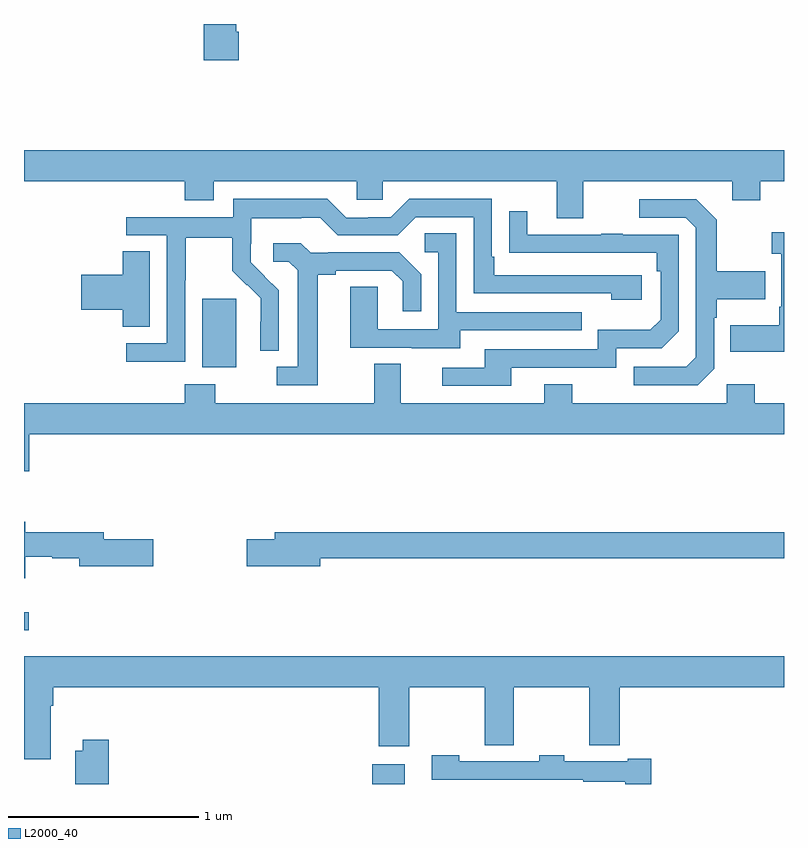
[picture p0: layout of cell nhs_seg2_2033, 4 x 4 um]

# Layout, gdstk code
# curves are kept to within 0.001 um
import gdstk
lib = gdstk.Library(unit=1e-6, precision=1e-09)
def R(c, l, rs):  # rectangles x0, y0, x1, y1
    for r in rs: c.add(gdstk.rectangle(r[:2], r[2:], *l))
def P(c, l, *ps):  # polygons
    for p in ps: c.add(gdstk.Polygon(p, *l))
L2000_40 = (2000, 40)

nhs_seg2_2033 = lib.new_cell('nhs_seg2_2033')
R(nhs_seg2_2033, L2000_40, [(218.834,641.8,219.004,641.905), (217,642.608,217.024,642.705), (217.937,643.994,218.116,644.355)])
P(nhs_seg2_2033, L2000_40, [(218.129,645.759),(218.116,645.759),(218.116,645.8),(217.946,645.8),(217.946,645.609),(218.129,645.609)],
  [(219.943,644.972),(220.727,644.972),(220.727,644.873),(220.875,644.873),(220.875,644.972),(221,644.972),(221,645.136),(217,645.136),(217,644.972),(217.847,644.972),(217.847,644.873),(217.999,644.873),(217.999,644.972),(218.751,644.972),(218.751,644.874),(218.889,644.874),(218.889,644.972),(219.803,644.972),(219.803,644.778),(219.943,644.778)],
  [(217.848,644.452),(217.851,644.452),(217.851,644.676),(218.095,644.676),(218.095,644.501),(218.172,644.424),(218.175,644.427),(218.246,644.357),(218.246,644.234),(218.244,644.234),(218.244,644.08),(218.34,644.08),(218.34,644.398),(218.194,644.546),(218.194,644.643),(218.196,644.643),(218.196,644.777),(218.459,644.777),(218.459,644.781),(218.559,644.781),(218.652,644.688),(218.967,644.688),(219.063,644.784),(219.366,644.784),(219.366,644.382),(220.091,644.382),(220.091,644.348),(220.252,644.348),(220.252,644.478),(219.475,644.478),(219.475,644.575),(219.462,644.575),(219.462,644.88),(219.027,644.88),(218.931,644.784),(218.813,644.784),(218.813,644.781),(218.697,644.781),(218.597,644.881),(218.1,644.881),(218.1,644.784),(217.539,644.784),(217.539,644.688),(217.752,644.688),(217.752,644.121),(217.539,644.121),(217.539,644.023),(217.848,644.023)],
  [(220.632,643.986),(220.632,644.255),(220.645,644.255),(220.645,644.351),(220.901,644.351),(220.901,644.499),(220.645,644.499),(220.645,644.771),(220.539,644.877),(220.239,644.877),(220.239,644.781),(220.482,644.781),(220.536,644.727),(220.536,644.046),(220.485,643.995),(220.209,643.995),(220.209,643.899),(220.545,643.899)],
  [(219.565,643.992),(220.116,643.992),(220.116,644.094),(220.356,644.094),(220.446,644.184),(220.446,644.691),(220.151,644.691),(220.151,644.696),(220.039,644.696),(220.039,644.691),(219.649,644.691),(219.649,644.815),(219.553,644.815),(219.553,644.596),(220.33,644.595),(220.33,644.498),(220.35,644.498),(220.35,644.244),(220.297,644.191),(220.02,644.191),(220.02,644.088),(219.425,644.088),(219.425,643.992),(219.201,643.992),(219.201,643.896),(219.565,643.896)],
  [(221,644.704),(220.935,644.704),(220.935,644.591),(220.986,644.591),(220.986,644.311),(220.974,644.311),(220.974,644.215),(220.717,644.215),(220.717,644.075),(221,644.075)],
  [(219.295,644.187),(219.935,644.187),(219.935,644.283),(219.276,644.283),(219.276,644.699),(219.108,644.699),(219.108,644.598),(219.18,644.598),(219.18,644.193),(218.862,644.193),(218.862,644.417),(218.717,644.417),(218.717,644.097),(219.041,644.097),(219.041,644.093),(219.295,644.093)],
  [(218.545,644.48),(218.641,644.48),(218.641,644.502),(218.936,644.502),(218.993,644.445),(218.993,644.289),(219.09,644.289),(219.09,644.482),(218.974,644.598),(218.602,644.598),(218.602,644.595),(218.508,644.595),(218.456,644.647),(218.313,644.647),(218.313,644.55),(218.394,644.55),(218.441,644.503),(218.441,643.995),(218.331,643.995),(218.331,643.899),(218.545,643.899)],
  [(217.663,644.603),(217.52,644.603),(217.52,644.48),(217.302,644.48),(217.302,644.297),(217.52,644.297),(217.52,644.206),(217.663,644.206)],
  [(217.028,643.64),(221,643.64),(221,643.804),(220.845,643.804),(220.845,643.903),(220.698,643.903),(220.698,643.804),(219.885,643.804),(219.885,643.903),(219.737,643.903),(219.737,643.804),(218.983,643.804),(218.983,644.012),(218.843,644.012),(218.843,643.804),(218.007,643.804),(218.007,643.903),(217.847,643.903),(217.847,643.804),(217,643.804),(217,643.446),(217.028,643.446)],
  [(217.006,642.996),(217.149,642.996),(217.149,642.988),(217.292,642.988),(217.292,642.946),(217.681,642.946),(217.681,643.088),(217.42,643.088),(217.42,643.124),(217.006,643.124),(217.006,643.18),(217,643.18),(217,642.884),(217.006,642.884)],
  [(218.56,642.988),(221,642.988),(221,643.124),(218.321,643.124),(218.321,643.088),(218.172,643.088),(218.172,642.946),(218.56,642.946)],
  [(217.141,642.212),(217.154,642.212),(217.154,642.308),(218.867,642.308),(218.867,642),(219.027,642),(219.027,642.308),(219.424,642.308),(219.424,642.004),(219.578,642.004),(219.578,642.308),(219.976,642.308),(219.976,642.004),(220.136,642.004),(220.136,642.308),(221,642.308),(221,642.472),(217,642.472),(217,642.308),(217.001,642.308),(217.001,641.931),(217.141,641.931)],
  [(217.445,642.034),(217.31,642.034),(217.31,641.974),(217.27,641.974),(217.27,641.8),(217.445,641.8)],
  [(220.301,641.932),(220.178,641.932),(220.178,641.919),(219.843,641.919),(219.843,641.952),(219.711,641.952),(219.711,641.919),(219.291,641.919),(219.291,641.952),(219.147,641.952),(219.147,641.823),(219.943,641.823),(219.943,641.811),(220.165,641.811),(220.165,641.8),(220.301,641.8)])

lib.write_gds('nhs_seg2_2033.gds')
